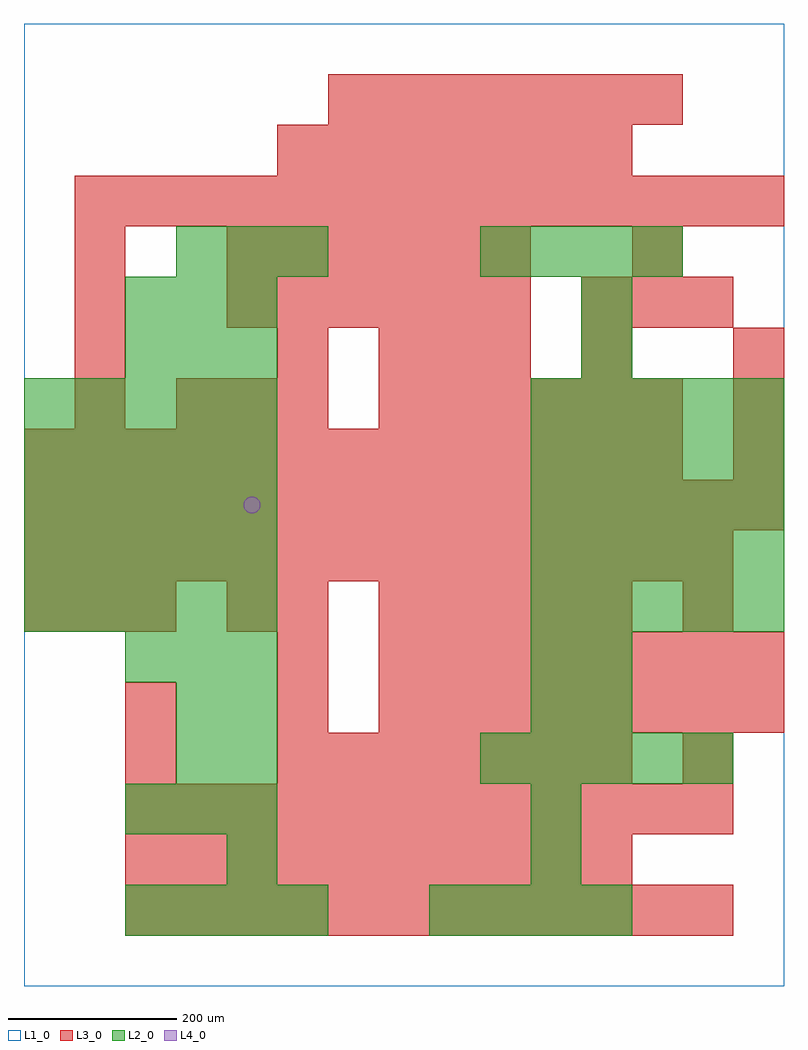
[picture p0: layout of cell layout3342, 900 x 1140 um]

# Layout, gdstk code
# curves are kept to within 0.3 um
import gdstk
lib = gdstk.Library(unit=1e-6, precision=1e-09)
def R(c, l, rs):  # rectangles x0, y0, x1, y1
    for r in rs: c.add(gdstk.rectangle(r[:2], r[2:], *l))
def A(c, l, x, y, w, h, nx, ny, dx, dy):  # array of equal rectangles
    R(c, l, [(x+i*dx, y+j*dy, x+i*dx+w, y+j*dy+h) for i in range(nx) for j in range(ny)])
def P(c, l, *ps):  # polygons
    for p in ps: c.add(gdstk.Polygon(p, *l))
L1_0 = (1, 0)
L2_0 = (2, 0)
L3_0 = (3, 0)
L4_0 = (4, 0)

layout3342 = lib.new_cell('layout3342')
R(layout3342, L1_0, [(0,0,900,1140)])
A(layout3342, L2_0, 120, 60, 60, 60, 4, 1, 60, 0)
A(layout3342, L2_0, 480, 60, 60, 60, 4, 1, 60, 0)
A(layout3342, L2_0, 120, 180, 60, 60, 3, 2, 60, 180)
A(layout3342, L2_0, 540, 240, 60, 60, 5, 1, 60, 0)
A(layout3342, L2_0, 0, 420, 60, 60, 5, 5, 60, 60)
A(layout3342, L2_0, 600, 420, 60, 60, 5, 5, 60, 60)
A(layout3342, L2_0, 120, 720, 60, 60, 3, 2, 60, 60)
A(layout3342, L2_0, 180, 840, 60, 60, 3, 1, 60, 0)
A(layout3342, L2_0, 540, 840, 60, 60, 4, 1, 60, 0)
R(layout3342, L2_0, [(240,120,300,180), (600,120,660,180), (600,180,660,240), (180,240,240,300), (240,240,300,300), (180,300,240,360), (240,300,300,360), (600,300,660,360), (660,300,720,360), (600,360,660,420), (660,360,720,420), (660,720,720,780), (660,780,720,840)])
A(layout3342, L3_0, 120, 60, 60, 60, 12, 2, 60, 120)
A(layout3342, L3_0, 120, 120, 60, 60, 10, 1, 60, 0)
A(layout3342, L3_0, 300, 240, 60, 60, 7, 2, 60, 720)
A(layout3342, L3_0, 300, 300, 60, 60, 1, 3, 0, 60)
A(layout3342, L3_0, 420, 300, 60, 60, 8, 2, 60, 60)
A(layout3342, L3_0, 0, 420, 60, 60, 3, 1, 60, 0)
A(layout3342, L3_0, 420, 420, 60, 60, 5, 1, 60, 0)
A(layout3342, L3_0, 0, 480, 60, 60, 14, 1, 60, 0)
A(layout3342, L3_0, 0, 540, 60, 60, 15, 1, 60, 0)
A(layout3342, L3_0, 0, 600, 60, 60, 13, 1, 60, 0)
A(layout3342, L3_0, 840, 600, 60, 60, 1, 3, 0, 60)
A(layout3342, L3_0, 60, 660, 60, 60, 1, 4, 0, 60)
A(layout3342, L3_0, 180, 660, 60, 60, 3, 1, 60, 0)
A(layout3342, L3_0, 420, 660, 60, 60, 6, 1, 60, 0)
A(layout3342, L3_0, 420, 720, 60, 60, 3, 1, 60, 0)
A(layout3342, L3_0, 240, 780, 60, 60, 6, 2, 60, 60)
A(layout3342, L3_0, 660, 780, 60, 60, 3, 1, 60, 0)
A(layout3342, L3_0, 60, 900, 60, 60, 14, 1, 60, 0)
A(layout3342, L3_0, 360, 1020, 60, 60, 7, 1, 60, 0)
R(layout3342, L3_0, [(120,240,180,300), (780,240,840,300), (120,300,180,360), (240,420,300,480), (780,420,840,480), (300,720,360,780), (660,720,720,780), (720,840,780,900)])
P(layout3342, L4_0, [(280,570),(279.239,573.827),(277.071,577.071),(273.827,579.239),(270,580),(266.173,579.239),(262.929,577.071),(260.761,573.827),(260,570),(260.761,566.173),(262.929,562.929),(266.173,560.761),(270,560),(273.827,560.761),(277.071,562.929),(279.239,566.173)])

lib.write_gds('layout3342.gds')
